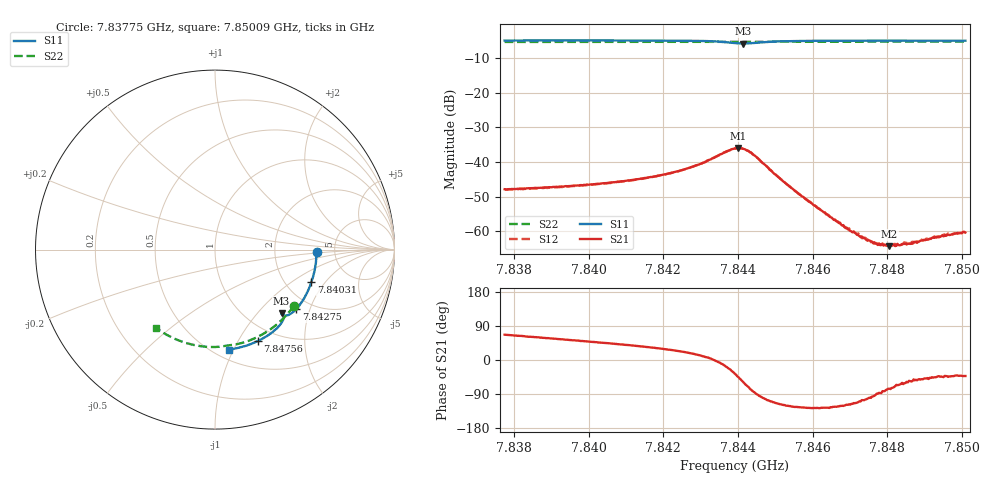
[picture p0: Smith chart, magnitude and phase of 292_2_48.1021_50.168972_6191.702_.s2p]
#  HZ  S  RI  R  50.00
! Rohde & Schwarz Vector Network Analyzer
! Rohde-Schwarz,ZNB20-2Port,1311601062101988,3.16
! Created: UTC 12/23/2023, 4:03:51 AM
! freq[Hz]  re:S11  im:S11  re:S21  im:S21  re:S12  im:S12  re:S22  im:S22
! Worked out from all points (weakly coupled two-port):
!   401 points, 7.83775 GHz to 7.85009 GHz, reference 50 ohm
!   highest |S21| = -35.98 dB at 7.84401 GHz (marker M1); lowest = -64.3 dB at 7.84805 GHz (marker M2)
!   lowest |S11| = -5.8 dB at 7.84414 GHz (marker M3), VSWR 3.10, Z = 70.9 - j67.8 ohm
!   |S11| at or under -10 dB: nowhere
!   |S22| runs from -5.4 to -5.3 dB; largest |S21 - S12| = 0.00034
!   S11 on the Smith chart (normalised r, x): 7.83775 GHz: 3.61, -0.15; 7.84031 GHz: 2.74, -1.47; 7.84275 GHz: 1.68, -1.62; 7.84756 GHz: 0.81, -1.21; 7.85009 GHz: 0.59, -0.96
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7.83775e9  0.5664 -0.0139  0.0016 0.00372  0.0016 0.00364  0.4391 -0.3141
7.839817e9  0.5467 -0.1504  0.00296 0.00356  0.00294 0.00352  0.3406 -0.4198
7.840311e9  0.5369 -0.182  0.00338 0.00351  0.00333 0.00347  0.3131 -0.4409
7.841236e9  0.5128 -0.2404  0.00441 0.00339  0.00436 0.0034  0.2583 -0.4756
7.841884e9  0.491 -0.28  0.00549 0.00324  0.00545 0.00327  0.2176 -0.4957
7.842748e9  0.4533 -0.3311  0.00805 0.00255  0.00803 0.00258  0.1605 -0.5169
7.843087e9  0.4337 -0.3491  0.0097 0.00163  0.00968 0.00162  0.1374 -0.5236
7.843457e9  0.4071 -0.3649  0.0123 -0.00098  0.0122 -0.000913  0.1119 -0.5289
7.84392e9  0.3728 -0.3619  0.0126 -0.00941  0.0126 -0.00946  0.081 -0.5327
7.844012e9  0.37 -0.3579  0.0112 -0.0112  0.0112 -0.0112  0.0751 -0.5334
7.844136e9  0.3706 -0.3531  0.00826 -0.0131  0.00827 -0.0131  0.0675 -0.5346
7.844413e9  0.3805 -0.3565  0.00139 -0.0126  0.00143 -0.0127  0.0498 -0.5378
7.845184e9  0.3695 -0.4094  -0.00253 -0.00478  -0.00256 -0.00484  -0.004 -0.5427
7.845987e9  0.3295 -0.4523  -0.00151 -0.002  -0.00151 -0.002  -0.0606 -0.5402
7.847005e9  0.2709 -0.4926  -0.000472 -0.000894  -0.000443 -0.000933  -0.1312 -0.5281
7.84756e9  0.2376 -0.5101  -0.000125 -0.000708  -0.000111 -0.000695  -0.1687 -0.5179
7.847745e9  0.2263 -0.5153  1.38e-05 -0.000633  -1.21e-05 -0.000668  -0.1812 -0.5138
7.848053e9  0.207 -0.5234  0.000154 -0.000591  0.000153 -0.000594  -0.2016 -0.5063
7.848609e9  0.1719 -0.5361  0.00037 -0.000543  0.000362 -0.000573  -0.2374 -0.491
7.848763e9  0.1622 -0.539  0.000436 -0.00056  0.000409 -0.000563  -0.2472 -0.4862
7.849565e9  0.1101 -0.5518  0.000635 -0.000577  0.000629 -0.000592  -0.296 -0.4585
7.850089e9  0.0757 -0.5574  0.000714 -0.000647  0.000733 -0.00064  -0.3263 -0.4379
